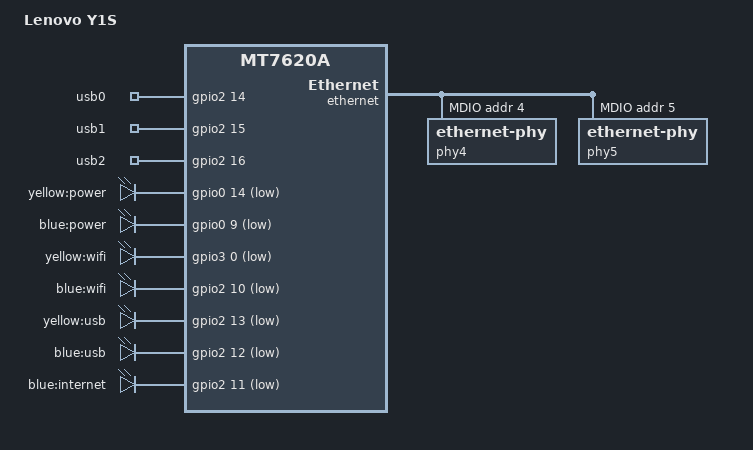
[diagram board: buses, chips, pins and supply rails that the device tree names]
#include "mt7620a_lenovo_newifi-y1.dtsi"

/ {
	compatible = "lenovo,newifi-y1s", "lenovo,newifi-y1", "ralink,mt7620a-soc";
	model = "Lenovo Y1S";

	aliases {
		led-boot = &led_power_blue;
		led-failsafe = &led_power_blue;
		led-running = &led_power_blue;
		led-upgrade = &led_power_blue;
		label-mac-device = &ethernet;
	};

	gpio_export {
		compatible = "gpio-export";
		#size-cells = <0>;

		usb0 {
			gpio-export,name = "usb0";
			gpio-export,output = <1>;
			gpios = <&gpio2 14 GPIO_ACTIVE_HIGH>;
		};
		usb1 {
			gpio-export,name = "usb1";
			gpio-export,output = <1>;
			gpios = <&gpio2 15 GPIO_ACTIVE_HIGH>;
		};
		usb2 {
			gpio-export,name = "usb2";
			gpio-export,output = <1>;
			gpios = <&gpio2 16 GPIO_ACTIVE_HIGH>;
		};
	};

	leds {
		compatible = "gpio-leds";

		power1 {
			label = "yellow:power";
			gpios = <&gpio0 14 GPIO_ACTIVE_LOW>;
		};

		led_power_blue: power2 {
			label = "blue:power";
			gpios = <&gpio0 9 GPIO_ACTIVE_LOW>;
		};

		wlan1 {
			label = "yellow:wifi";
			gpios = <&gpio3 0 GPIO_ACTIVE_LOW>;
		};

		wlan2 {
			label = "blue:wifi";
			gpios = <&gpio2 10 GPIO_ACTIVE_LOW>;
		};

		usb1 {
			label = "yellow:usb";
			gpios = <&gpio2 13 GPIO_ACTIVE_LOW>;
		};

		usb2 {
			label = "blue:usb";
			gpios = <&gpio2 12 GPIO_ACTIVE_LOW>;
			trigger-sources = <&ohci_port1>, <&ehci_port1>;
			linux,default-trigger = "usbport";
		};

		internet {
			label = "blue:internet";
			gpios = <&gpio2 11 GPIO_ACTIVE_LOW>;
		};
	};
};

&ethernet {
	pinctrl-names = "default";
	pinctrl-0 = <&rgmii1_pins &rgmii2_pins &mdio_pins>;

	mtd-mac-address = <&factory 0x28>;

	mediatek,portmap = "wllll";

	port@4 {
		status = "okay";
		phy-handle = <&phy4>;
		phy-mode = "rgmii";
	};

	port@5 {
		status = "okay";
		phy-handle = <&phy5>;
		phy-mode = "rgmii";
	};

	mdio-bus {
		status = "okay";

		phy4: ethernet-phy@4 {
			reg = <4>;
			phy-mode = "rgmii";
		};

		phy5: ethernet-phy@5 {
			reg = <5>;
			phy-mode = "rgmii";
		};
	};
};

&gsw {
	mediatek,port4 = "gmac";
};
